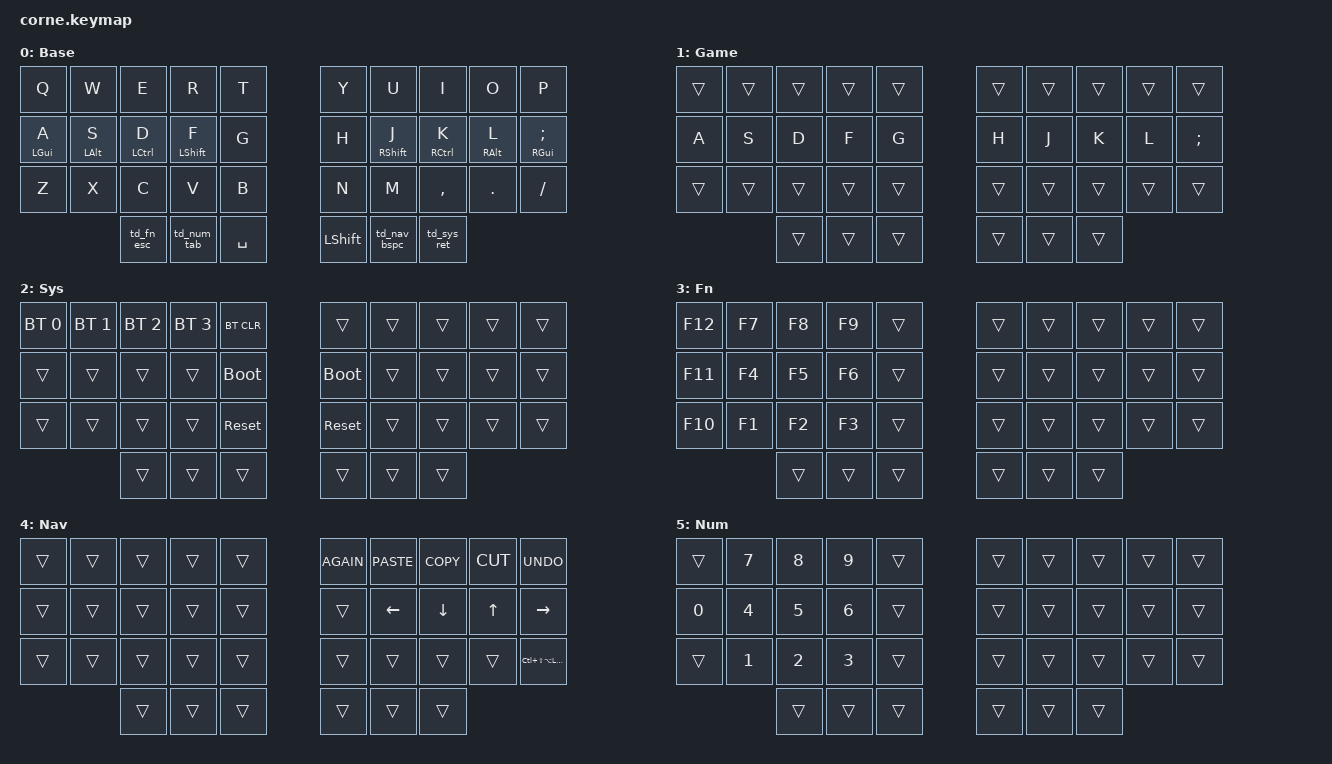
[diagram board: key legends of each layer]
/*
 * Copyright (c) 2020 The ZMK Contributors
 *
 * SPDX-License-Identifier: MIT
 */

#include <behaviors.dtsi>
#include <dt-bindings/zmk/keys.h>
#include <dt-bindings/zmk/bt.h>

#include "zmk-helpers/helper.h"
#include "zmk-helpers/key-labels/36.h"

#define KEYS_L LT0 LT1 LT2 LT3 LT4 LM0 LM1 LM2 LM3 LM4 LB0 LB1 LB2 LB3 LB4  // Left-hand keys.
#define KEYS_R RT0 RT1 RT2 RT3 RT4 RM0 RM1 RM2 RM3 RM4 RB0 RB1 RB2 RB3 RB4  // Right-hand keys.
#define THUMBS LH2 LH1 LH0 RH0 RH1 RH2                                      // Thumb keys.

#define COMBO_TERM_FAST 18
#define COMBO_TERM_SLOW 30

#define COMBO_IDLE_FAST 150
#define COMBO_IDLE_SLOW 50

#define HYPR LC(LS(LA(LGUI)))

#define BASE 0
#define GAME 1
#define SYS 2
#define FN 3
#define NAV 4
#define NUM 5

/* Left-hand HRMs. */
ZMK_HOLD_TAP(hml,
    flavor = "balanced";
    tapping-term-ms = <280>;
    quick-tap-ms = <175>;
    require-prior-idle-ms = <150>;
    bindings = <&kp>, <&kp>;
    hold-trigger-key-positions = <KEYS_R THUMBS>;
    hold-trigger-on-release;
)

/* Right-hand HRMs. */
ZMK_HOLD_TAP(hmr,
    flavor = "balanced";
    tapping-term-ms = <280>;
    quick-tap-ms = <175>;
    require-prior-idle-ms = <150>;
    bindings = <&kp>, <&kp>;
    hold-trigger-key-positions = <KEYS_L THUMBS>;
    hold-trigger-on-release;
)

/* Tap-preferred */
ZMK_BEHAVIOR(tp, hold_tap,
    flavor = "tap-preferred";
    tapping-term-ms = <200>;
    quick-tap-ms = <175>;
    bindings = <&kp>, <&kp>;
)

/ {
    behaviors {
        td_fn_esc: td_fn_esc {
            compatible = "zmk,behavior-tap-dance";
            #binding-cells = <0>;
            tapping-term-ms = <200>;
            bindings = <&kp ESC>, <&kp ESC>, <&lt FN ESC>;
        };
        
        td_num_tab: td_num_tab {
            compatible = "zmk,behavior-tap-dance";
            #binding-cells = <0>;
            tapping-term-ms = <200>;
            bindings = <&kp TAB>, <&kp TAB>, <&lt NUM TAB>;
        };
        
        td_nav_bspc: td_nav_bspc {
            compatible = "zmk,behavior-tap-dance";
            #binding-cells = <0>;
            tapping-term-ms = <200>;
            bindings = <&kp BSPC>, <&kp BSPC>, <&lt NAV BSPC>;
        };

        td_sys_ret: td_sys_ret {
            compatible = "zmk,behavior-tap-dance";
            #binding-cells = <0>;
            tapping-term-ms = <200>;
            bindings = <&kp RET>, <&kp RET>, <&lt SYS RET>;
        };
    };
};

/*                KEY POSITIONS

  ╭─────────────────────╮ ╭─────────────────────╮
  │ LT4 LT3 LT2 LT1 LT0 │ │ RT0 RT1 RT2 RT3 RT4 │
  │ LM4 LM3 LM2 LM1 LM0 │ │ RM0 RM1 RM2 RM3 RM4 │
  │ LB4 LB3 LB2 LB1 LB0 │ │ RB0 RB1 RB2 RB3 RB4 │
  ╰───────╮ LH2 LH1 LH0 │ │ RH0 RH1 RH2 ╭───────╯
          ╰─────────────╯ ╰─────────────╯ */

ZMK_COMBO(minus, &kp MINUS, RM1 RM2, BASE, COMBO_TERM_FAST, COMBO_IDLE_FAST)
ZMK_COMBO(esc, &kp ESC, RM2 RM3, BASE, COMBO_TERM_FAST, COMBO_IDLE_FAST)
ZMK_COMBO(tilde, &kp TILDE, RM3 RM4, BASE, COMBO_TERM_FAST, COMBO_IDLE_FAST)
ZMK_COMBO(at, &kp AT, LM4 LM3, BASE, COMBO_TERM_FAST, COMBO_IDLE_FAST)
ZMK_COMBO(pipe, &kp PIPE, LM3 LM2, BASE, COMBO_TERM_FAST, COMBO_IDLE_FAST)
ZMK_COMBO(equal, &kp EQUAL, LM2 LM1, BASE, COMBO_TERM_FAST, COMBO_IDLE_FAST)

ZMK_COMBO(game, &tog GAME, LH0 RH0, BASE GAME, COMBO_TERM_FAST, COMBO_IDLE_FAST)

ZMK_APPLY_MATRIX_TRANSFORM(five_column_transform)

ZMK_LAYER(Base,
// ╭─────────────┬─────────────┬─────────────┬─────────────┬─────────────╮   ╭─────────────┬─────────────┬─────────────┬─────────────┬─────────────╮
     &kp Q         &kp W         &kp E         &kp R         &kp T             &kp Y         &kp U         &kp I         &kp O         &kp P
// ├─────────────┼─────────────┼─────────────┼─────────────┼─────────────┤   ├─────────────┼─────────────┼─────────────┼─────────────┼─────────────┤
     &hml LGUI A   &hml LALT S   &hml LCTRL D  &hml LSHFT F  &kp G             &kp H         &hmr RSHFT J  &hmr RCTRL K  &hmr RALT L   &hmr RGUI SEMI
// ├─────────────┼─────────────┼─────────────┼─────────────┼─────────────┤   ├─────────────┼─────────────┼─────────────┼─────────────┼─────────────┤
     &kp Z         &kp X         &kp C         &kp V         &kp B             &kp N         &kp M         &kp COMMA     &kp DOT       &kp FSLH
// ╰─────────────┴─────────────┴─────────────┴─────────────┴─────────────┤   ├─────────────┴─────────────┴─────────────┴─────────────┴─────────────╯
                                 &td_fn_esc    &td_num_tab   &kp SPACE         &kp LSHFT    &td_nav_bspc   &td_sys_ret
//                             ╰─────────────┴─────────────┴─────────────╯   ╰─────────────┴─────────────┴─────────────╯
)

ZMK_LAYER(Game,
// ╭─────────────┬─────────────┬─────────────┬─────────────┬─────────────╮   ╭─────────────┬─────────────┬─────────────┬─────────────┬─────────────╮
     &trans        &trans        &trans        &trans        &trans            &trans        &trans        &trans        &trans        &trans
// ├─────────────┼─────────────┼─────────────┼─────────────┼─────────────┤   ├─────────────┼─────────────┼─────────────┼─────────────┼─────────────┤
     &kp A         &kp S         &kp D         &kp F         &kp G             &kp H         &kp J         &kp K         &kp L         &kp SEMI
// ├─────────────┼─────────────┼─────────────┼─────────────┼─────────────┤   ├─────────────┼─────────────┼─────────────┼─────────────┼─────────────┤
     &trans        &trans        &trans        &trans        &trans            &trans        &trans        &trans        &trans        &trans
// ╰─────────────┴─────────────┴─────────────┴─────────────┴─────────────┤   ├─────────────┴─────────────┴─────────────┴─────────────┴─────────────╯
                                 &trans        &trans        &trans            &trans        &trans        &trans
//                             ╰─────────────┴─────────────┴─────────────╯   ╰─────────────┴─────────────┴─────────────╯
)

ZMK_LAYER(Sys,
// ╭─────────────┬─────────────┬─────────────┬─────────────┬─────────────╮   ╭─────────────┬─────────────┬─────────────┬─────────────┬─────────────╮
     &bt BT_SEL 0  &bt BT_SEL 1  &bt BT_SEL 2  &bt BT_SEL 3  &bt BT_CLR        &trans        &trans        &trans        &trans        &trans
// ├─────────────┼─────────────┼─────────────┼─────────────┼─────────────┤   ├─────────────┼─────────────┼─────────────┼─────────────┼─────────────┤
     &trans        &trans        &trans        &trans        &bootloader       &bootloader   &trans        &trans        &trans        &trans
// ├─────────────┼─────────────┼─────────────┼─────────────┼─────────────┤   ├─────────────┼─────────────┼─────────────┼─────────────┼─────────────┤
     &trans        &trans        &trans        &trans        &sys_reset        &sys_reset    &trans        &trans        &trans        &trans
// ╰─────────────┴─────────────┴─────────────┴─────────────┴─────────────┤   ├─────────────┴─────────────┴─────────────┴─────────────┴─────────────╯
                                 &trans        &trans        &trans            &trans        &trans        &trans
//                             ╰─────────────┴─────────────┴─────────────╯   ╰─────────────┴─────────────┴─────────────╯
)

ZMK_LAYER(Fn,
// ╭─────────────┬─────────────┬─────────────┬─────────────┬─────────────╮   ╭─────────────┬─────────────┬─────────────┬─────────────┬─────────────╮
     &kp F12       &kp F7        &kp F8        &kp F9        &trans            &trans        &trans        &trans        &trans        &trans
// ├─────────────┼─────────────┼─────────────┼─────────────┼─────────────┤   ├─────────────┼─────────────┼─────────────┼─────────────┼─────────────┤
     &kp F11       &kp F4        &kp F5        &kp F6        &trans            &trans        &trans        &trans        &trans        &trans
// ├─────────────┼─────────────┼─────────────┼─────────────┼─────────────┤   ├─────────────┼─────────────┼─────────────┼─────────────┼─────────────┤
     &kp F10       &kp F1        &kp F2        &kp F3        &trans            &trans        &trans        &trans        &trans        &trans
// ╰─────────────┴─────────────┴─────────────┴─────────────┴─────────────┤   ├─────────────┴─────────────┴─────────────┴─────────────┴─────────────╯
                                 &trans        &trans        &trans            &trans        &trans        &trans
//                             ╰─────────────┴─────────────┴─────────────╯   ╰─────────────┴─────────────┴─────────────╯
)


ZMK_LAYER(Nav,
// ╭─────────────┬─────────────┬─────────────┬─────────────┬─────────────╮   ╭─────────────┬─────────────┬─────────────┬─────────────┬─────────────╮
     &trans        &trans        &trans        &trans        &trans            &kp K_AGAIN   &kp K_PASTE   &kp K_COPY    &kp K_CUT     &kp K_UNDO
// ├─────────────┼─────────────┼─────────────┼─────────────┼─────────────┤   ├─────────────┼─────────────┼─────────────┼─────────────┼─────────────┤
     &trans        &trans        &trans        &trans        &trans            &trans        &kp LEFT      &kp DOWN      &kp UP        &kp RIGHT
// ├─────────────┼─────────────┼─────────────┼─────────────┼─────────────┤   ├─────────────┼─────────────┼─────────────┼─────────────┼─────────────┤
     &trans        &trans        &trans        &trans        &trans            &trans        &trans        &trans        &trans        &kp HYPR
// ╰─────────────┴─────────────┴─────────────┴─────────────┴─────────────┤   ├─────────────┴─────────────┴─────────────┴─────────────┴─────────────╯
                                 &trans        &trans        &trans            &trans        &trans        &trans
//                             ╰─────────────┴─────────────┴─────────────╯   ╰─────────────┴─────────────┴─────────────╯
)

ZMK_LAYER(Num,
// ╭─────────────┬─────────────┬─────────────┬─────────────┬─────────────╮   ╭─────────────┬─────────────┬─────────────┬─────────────┬─────────────╮
     &trans        &kp N7        &kp N8        &kp N9        &trans            &trans        &trans        &trans        &trans        &trans
// ├─────────────┼─────────────┼─────────────┼─────────────┼─────────────┤   ├─────────────┼─────────────┼─────────────┼─────────────┼─────────────┤
     &kp N0        &kp N4        &kp N5        &kp N6        &trans            &trans        &trans        &trans        &trans        &trans
// ├─────────────┼─────────────┼─────────────┼─────────────┼─────────────┤   ├─────────────┼─────────────┼─────────────┼─────────────┼─────────────┤
     &trans        &kp N1        &kp N2        &kp N3        &trans            &trans        &trans        &trans        &trans        &trans
// ╰─────────────┴─────────────┴─────────────┴─────────────┴─────────────┤   ├─────────────┴─────────────┴─────────────┴─────────────┴─────────────╯
                                 &trans        &trans        &trans            &trans        &trans        &trans
//                             ╰─────────────┴─────────────┴─────────────╯   ╰─────────────┴─────────────┴─────────────╯
)


/* ZMK_LAYER(Template, */
/* // ╭─────────────┬─────────────┬─────────────┬─────────────┬─────────────╮   ╭─────────────┬─────────────┬─────────────┬─────────────┬─────────────╮ */
/*      &trans        &trans        &trans        &trans        &trans            &trans        &trans        &trans        &trans        &trans */
/* // ├─────────────┼─────────────┼─────────────┼─────────────┼─────────────┤   ├─────────────┼─────────────┼─────────────┼─────────────┼─────────────┤ */
/*      &trans        &trans        &trans        &trans        &trans            &trans        &trans        &trans        &trans        &trans */
/* // ├─────────────┼─────────────┼─────────────┼─────────────┼─────────────┤   ├─────────────┼─────────────┼─────────────┼─────────────┼─────────────┤ */
/*      &trans        &trans        &trans        &trans        &trans            &trans        &trans        &trans        &trans        &trans */
/* // ╰─────────────┴─────────────┴─────────────┴─────────────┴─────────────┤   ├─────────────┴─────────────┴─────────────┴─────────────┴─────────────╯ */
/*                                  &trans        &trans        &trans            &trans        &trans        &trans */
/* //                             ╰─────────────┴─────────────┴─────────────╯   ╰─────────────┴─────────────┴─────────────╯ */
/* ) */


